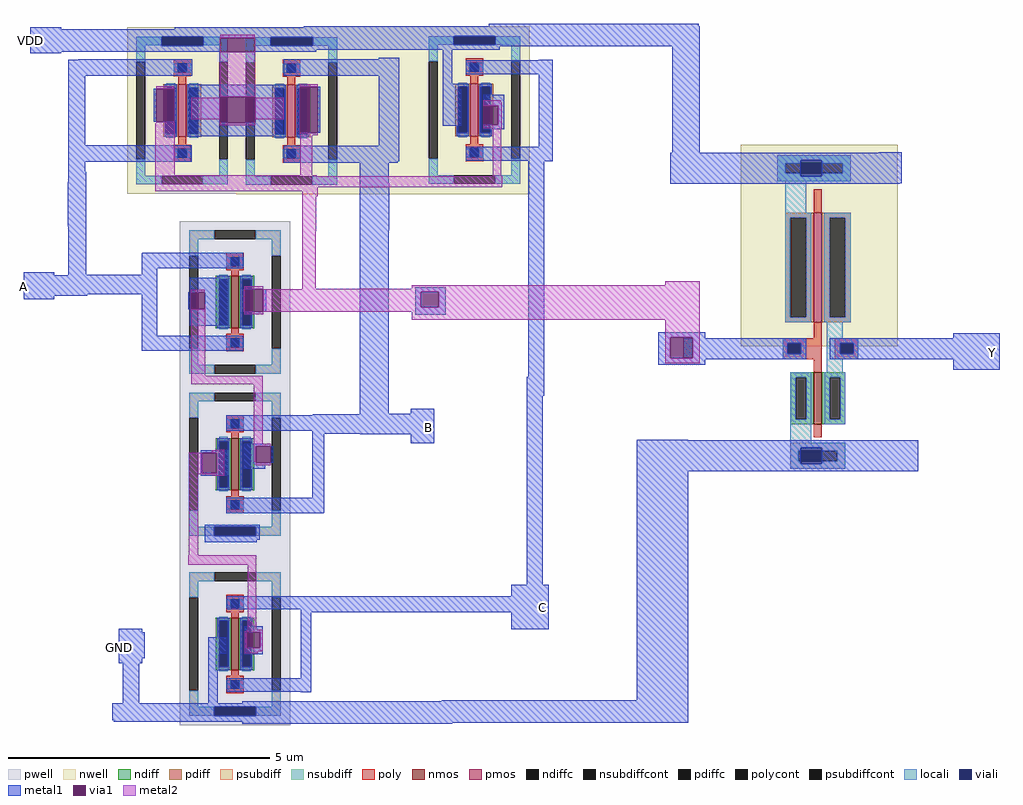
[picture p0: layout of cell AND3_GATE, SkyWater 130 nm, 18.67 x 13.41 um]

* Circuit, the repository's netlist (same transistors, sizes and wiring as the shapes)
* SPICE3 file created from AND3_GATE.ext - technology: sky130A

.subckt sky130_fd_pr__nfet_01v8_648S5X a_n73_n100# a_n33_n188# a_15_n100# a_n175_n274#
X0 a_15_n100# a_n33_n188# a_n73_n100# a_n175_n274# sky130_fd_pr__nfet_01v8 ad=0.29 pd=2.58 as=0.29 ps=2.58 w=1 l=0.15
.ends

.subckt sky130_fd_pr__pfet_01v8_XGS3BL a_n73_n100# a_15_n100# w_n211_n319# a_n33_n197#
+ VSUBS
X0 a_15_n100# a_n33_n197# a_n73_n100# w_n211_n319# sky130_fd_pr__pfet_01v8 ad=0.29 pd=2.58 as=0.29 ps=2.58 w=1 l=0.15
.ends

.subckt INV vdd vss out in
X0 out in vdd vdd sky130_fd_pr__pfet_01v8 ad=1.155 pd=5.3 as=1.155 ps=5.3 w=2.1 l=0.15
X1 out in vss vss sky130_fd_pr__nfet_01v8 ad=0.45 pd=2.9 as=0.45 ps=2.9 w=1 l=0.15
.ends

** .subckt AND3_GATE
Xsky130_fd_pr__nfet_01v8_648S5X_0 GND C m1_n1068_n3336# GND sky130_fd_pr__nfet_01v8_648S5X
Xsky130_fd_pr__nfet_01v8_648S5X_1 m1_n1068_n3336# B m1_n1116_n2700# GND sky130_fd_pr__nfet_01v8_648S5X
XXM1 m1_n1116_n2700# A INV_0/in GND sky130_fd_pr__nfet_01v8_648S5X
XXM3 INV_0/in VDD VDD A GND sky130_fd_pr__pfet_01v8_XGS3BL
Xsky130_fd_pr__pfet_01v8_XGS3BL_0 VDD INV_0/in VDD B GND sky130_fd_pr__pfet_01v8_XGS3BL
Xsky130_fd_pr__pfet_01v8_XGS3BL_1 VDD INV_0/in VDD C GND sky130_fd_pr__pfet_01v8_XGS3BL
XINV_0 VDD GND Y INV_0/in INV
* C0 VDD GND 6.654117f
** .ends

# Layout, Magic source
magic
tech sky130A
magscale 1 2
<< nwell >>
rect -674 -1706 190 -1616
rect -1104 -1972 -750 -1890
rect -1242 -2248 -982 -2174
rect -536 -2260 190 -1706
<< pwell >>
rect -1148 -3818 -726 -3528
rect -888 -3926 -856 -3818
rect -892 -3932 -830 -3926
rect -1028 -4018 -970 -3954
rect -900 -4008 -830 -3932
rect -900 -4016 -850 -4008
rect -1016 -4254 -858 -4220
<< psubdiffcont >>
rect -1016 -4254 -858 -4220
<< nsubdiffcont >>
rect -100 -1688 58 -1654
<< viali >>
rect -1218 -1692 -1058 -1656
rect -800 -1692 -640 -1658
rect -100 -1688 58 -1654
rect -1016 -3566 -858 -3532
rect -1016 -4254 -858 -4220
<< metal1 >>
rect 34 -1616 838 -1608
rect -674 -1620 842 -1616
rect -1720 -1628 -1602 -1620
rect -1168 -1628 842 -1620
rect -1720 -1654 842 -1628
rect -1720 -1656 -100 -1654
rect -1720 -1692 -1218 -1656
rect -1058 -1658 -100 -1656
rect -1058 -1660 -800 -1658
rect -1058 -1692 -994 -1660
rect -1720 -1714 -994 -1692
rect -862 -1692 -800 -1660
rect -640 -1688 -100 -1658
rect 58 -1688 842 -1654
rect -640 -1692 842 -1688
rect -862 -1694 842 -1692
rect -862 -1706 76 -1694
rect -862 -1714 -626 -1706
rect -1720 -1720 -1602 -1714
rect -386 -1742 -308 -1738
rect -1536 -1744 -1100 -1742
rect -1574 -1806 -1100 -1744
rect -750 -1806 -308 -1742
rect -1574 -2072 -1510 -1806
rect -1248 -1982 -1238 -1856
rect -1170 -1982 -1160 -1856
rect -1110 -1886 -754 -1840
rect -1110 -1986 -996 -1886
rect -860 -1986 -754 -1886
rect -1110 -2038 -754 -1986
rect -700 -2024 -690 -1848
rect -620 -2024 -610 -1848
rect -1574 -2136 -1102 -2072
rect -386 -2074 -308 -1806
rect -142 -1836 -106 -1706
rect 226 -1746 278 -1744
rect -54 -1800 278 -1746
rect -142 -1858 -78 -1836
rect -142 -1998 -72 -1858
rect 12 -1920 94 -1878
rect 70 -1994 94 -1920
rect 12 -2010 94 -1994
rect -750 -2134 -308 -2074
rect 226 -2078 278 -1800
rect -54 -2132 278 -2078
rect 186 -2134 278 -2132
rect -1574 -2174 -1510 -2136
rect -750 -2138 -314 -2134
rect -1574 -2212 -1506 -2174
rect -1576 -2382 -1506 -2212
rect -1746 -2570 -1628 -2558
rect -1574 -2568 -1506 -2382
rect -460 -2218 -348 -2138
rect -460 -2398 -346 -2218
rect -1292 -2486 -906 -2484
rect -1294 -2542 -906 -2486
rect -1294 -2568 -1234 -2542
rect -1574 -2570 -1234 -2568
rect -1746 -2642 -1234 -2570
rect -1110 -2634 -964 -2578
rect -1746 -2648 -1502 -2642
rect -1746 -2662 -1628 -2648
rect -1294 -2800 -1234 -2642
rect -1116 -2700 -1106 -2634
rect -1052 -2700 -964 -2634
rect -1110 -2762 -964 -2700
rect -912 -2708 -902 -2622
rect -828 -2708 -818 -2622
rect -1294 -2858 -906 -2800
rect -460 -3100 -348 -2398
rect -248 -2632 -130 -2616
rect -248 -2692 -226 -2632
rect -158 -2692 -130 -2632
rect -248 -2720 -130 -2692
rect 186 -2958 246 -2134
rect 736 -2218 842 -1694
rect 682 -2806 862 -2788
rect 682 -2886 728 -2806
rect 814 -2886 862 -2806
rect 682 -2912 862 -2886
rect 1812 -2930 1988 -2792
rect 180 -3030 246 -2958
rect -264 -3100 -174 -3080
rect -460 -3102 -174 -3100
rect -640 -3104 -174 -3102
rect -970 -3164 -174 -3104
rect -642 -3176 -174 -3164
rect -904 -3224 -822 -3214
rect -970 -3238 -964 -3236
rect -1068 -3248 -964 -3238
rect -1068 -3326 -1062 -3248
rect -1006 -3326 -964 -3248
rect -904 -3286 -858 -3224
rect -800 -3286 -790 -3224
rect -904 -3310 -822 -3286
rect -1068 -3334 -964 -3326
rect -1068 -3336 -968 -3334
rect -642 -3420 -596 -3176
rect -458 -3178 -174 -3176
rect -264 -3212 -174 -3178
rect -970 -3478 -596 -3420
rect -970 -3480 -598 -3478
rect -1052 -3532 -842 -3524
rect -1052 -3566 -1016 -3532
rect -858 -3566 -842 -3532
rect -1052 -3582 -842 -3566
rect -1052 -3590 -854 -3582
rect 180 -3754 240 -3030
rect 120 -3798 264 -3754
rect -968 -3848 264 -3798
rect -686 -3858 264 -3848
rect -1382 -3936 -1292 -3922
rect -902 -3936 -830 -3912
rect -1382 -4034 -1282 -3936
rect -1040 -4018 -970 -3954
rect -902 -3994 -892 -3936
rect -840 -3994 -830 -3936
rect -1382 -4054 -1292 -4034
rect -1366 -4206 -1304 -4054
rect -1040 -4206 -1002 -4018
rect -902 -4020 -830 -3994
rect -686 -4112 -646 -3858
rect 120 -3924 264 -3858
rect -968 -4162 -646 -4112
rect -686 -4164 -646 -4162
rect 600 -4196 798 -3198
rect -146 -4200 798 -4196
rect -910 -4206 798 -4200
rect -1406 -4220 798 -4206
rect -1406 -4254 -1016 -4220
rect -858 -4254 798 -4220
rect -1406 -4272 798 -4254
rect -1400 -4278 798 -4272
rect -910 -4282 798 -4278
rect -910 -4286 -106 -4282
<< via1 >>
rect -994 -1714 -862 -1660
rect -1238 -1982 -1170 -1856
rect -996 -1986 -860 -1886
rect -690 -2024 -620 -1848
rect 12 -1994 70 -1920
rect -1106 -2700 -1052 -2634
rect -902 -2708 -828 -2622
rect -226 -2692 -158 -2632
rect 728 -2886 814 -2806
rect -1062 -3326 -1006 -3248
rect -858 -3286 -800 -3224
rect -892 -3994 -840 -3936
<< metal2 >>
rect -994 -1658 -862 -1650
rect -996 -1660 -860 -1658
rect -996 -1714 -994 -1660
rect -862 -1714 -860 -1660
rect -1238 -1856 -1170 -1846
rect -996 -1886 -860 -1714
rect -1104 -1972 -996 -1890
rect -1238 -1988 -1170 -1982
rect -690 -1848 -620 -1838
rect -860 -1972 -750 -1890
rect -1242 -2186 -1168 -1988
rect -996 -1996 -860 -1986
rect 12 -1908 80 -1900
rect 12 -1920 84 -1908
rect 70 -1994 84 -1920
rect 12 -2006 84 -1994
rect -690 -2034 -620 -2024
rect -688 -2186 -642 -2034
rect -1242 -2190 -624 -2186
rect 50 -2190 82 -2006
rect -1242 -2232 86 -2190
rect -1242 -2248 -620 -2232
rect -680 -2268 -620 -2248
rect -680 -2400 -626 -2268
rect -902 -2622 -828 -2612
rect -680 -2620 -628 -2400
rect 710 -2608 842 -2592
rect -260 -2620 842 -2608
rect -680 -2622 842 -2620
rect -1106 -2634 -1052 -2624
rect -1052 -2700 -1050 -2680
rect -1106 -2710 -1050 -2700
rect -904 -2708 -902 -2622
rect -828 -2632 842 -2622
rect -828 -2692 -226 -2632
rect -158 -2692 842 -2632
rect -828 -2708 842 -2692
rect -1104 -2954 -1050 -2710
rect -902 -2718 -828 -2708
rect -260 -2740 842 -2708
rect 710 -2806 842 -2740
rect 710 -2886 728 -2806
rect 814 -2886 842 -2806
rect 710 -2906 842 -2886
rect -1104 -2986 -830 -2954
rect -866 -3214 -830 -2986
rect -866 -3224 -800 -3214
rect -1012 -3238 -978 -3236
rect -1026 -3248 -978 -3238
rect -1114 -3326 -1062 -3248
rect -1006 -3326 -978 -3248
rect -866 -3282 -858 -3224
rect -858 -3296 -800 -3286
rect -1114 -3330 -978 -3326
rect -1114 -3640 -1078 -3330
rect -1026 -3334 -978 -3330
rect -1012 -3336 -978 -3334
rect -1116 -3676 -856 -3640
rect -888 -3926 -856 -3676
rect -892 -3932 -830 -3926
rect -900 -3936 -830 -3932
rect -900 -3994 -892 -3936
rect -840 -3994 -830 -3936
rect -900 -4008 -830 -3994
rect -900 -4016 -850 -4008
use INV  INV_0
transform 1 0 1298 0 1 -2540
box -570 -780 560 470
use sky130_fd_pr__nfet_01v8_648S5X  sky130_fd_pr__nfet_01v8_648S5X_0
transform 1 0 -937 0 1 -3980
box -211 -310 211 310
use sky130_fd_pr__nfet_01v8_648S5X  sky130_fd_pr__nfet_01v8_648S5X_1
transform 1 0 -937 0 1 -3292
box -211 -310 211 310
use sky130_fd_pr__pfet_01v8_XGS3BL  sky130_fd_pr__pfet_01v8_XGS3BL_0
transform 1 0 -721 0 1 -1941
box -211 -319 211 319
use sky130_fd_pr__pfet_01v8_XGS3BL  sky130_fd_pr__pfet_01v8_XGS3BL_1
transform 1 0 -21 0 1 -1937
box -211 -319 211 319
use sky130_fd_pr__nfet_01v8_648S5X  XM1
transform 1 0 -937 0 1 -2672
box -211 -310 211 310
use sky130_fd_pr__pfet_01v8_XGS3BL  XM3
transform 1 0 -1139 0 1 -1939
box -211 -319 211 319
<< labels >>
rlabel metal1 -198 -3150 -198 -3150 1 B
rlabel metal1 -1746 -2612 -1746 -2612 3 A
rlabel metal1 -1718 -1672 -1718 -1672 1 VDD
rlabel metal1 -1380 -3994 -1380 -3994 1 GND
rlabel metal1 240 -3840 242 -3838 1 C
rlabel metal1 1960 -2868 1962 -2864 1 Y
<< end >>

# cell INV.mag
magic
tech sky130A
<< nwell >>
rect -150 -150 150 235
<< nmos >>
rect -10 -300 5 -200
<< pmos >>
rect -10 -105 5 105
<< ndiff >>
rect -55 -210 -10 -200
rect -55 -290 -45 -210
rect -25 -290 -10 -210
rect -55 -300 -10 -290
rect 5 -210 50 -200
rect 5 -290 20 -210
rect 40 -290 50 -210
rect 5 -300 50 -290
<< pdiff >>
rect -65 95 -10 105
rect -65 -95 -55 95
rect -25 -95 -10 95
rect -65 -105 -10 -95
rect 5 95 60 105
rect 5 -95 20 95
rect 50 -95 60 95
rect 5 -105 60 -95
<< ndiffc >>
rect -45 -290 -25 -210
rect 20 -290 40 -210
<< pdiffc >>
rect -55 -95 -25 95
rect 20 -95 50 95
<< psubdiff >>
rect -55 -350 50 -335
rect -55 -370 -40 -350
rect 35 -370 50 -350
rect -55 -385 50 -370
<< nsubdiff >>
rect -80 200 60 215
rect -80 180 -65 200
rect 45 180 60 200
rect -80 165 60 180
<< psubdiffcont >>
rect -40 -370 35 -350
<< nsubdiffcont >>
rect -65 180 45 200
<< poly >>
rect -10 105 5 150
rect -10 -135 5 -105
rect -70 -145 5 -135
rect -70 -165 -60 -145
rect -35 -165 5 -145
rect -70 -175 5 -165
rect 30 -145 75 -135
rect 30 -165 40 -145
rect 65 -165 75 -145
rect 30 -175 75 -165
rect -10 -200 5 -175
rect -10 -325 5 -300
<< polycont >>
rect -60 -165 -35 -145
rect 40 -165 65 -145
<< locali >>
rect -80 205 60 215
rect -80 200 -35 205
rect 5 200 60 205
rect -80 180 -65 200
rect 45 180 60 200
rect -80 175 -35 180
rect 5 175 60 180
rect -80 165 60 175
rect -65 105 -25 165
rect -65 95 -15 105
rect -65 -95 -55 95
rect -25 -95 -15 95
rect -65 -105 -15 -95
rect 10 95 60 105
rect 10 -95 20 95
rect 50 -95 60 95
rect 10 -105 60 -95
rect 15 -135 45 -105
rect -70 -145 -25 -135
rect -70 -165 -60 -145
rect -35 -165 -25 -145
rect -70 -175 -25 -165
rect 15 -145 75 -135
rect 15 -165 40 -145
rect 65 -165 75 -145
rect 15 -175 75 -165
rect 15 -200 45 -175
rect -55 -210 -15 -200
rect -55 -290 -45 -210
rect -25 -290 -15 -210
rect -55 -335 -15 -290
rect 10 -210 50 -200
rect 10 -290 20 -210
rect 40 -290 50 -210
rect 10 -300 50 -290
rect -55 -345 50 -335
rect -55 -350 -35 -345
rect 5 -350 50 -345
rect -55 -370 -40 -350
rect 35 -370 50 -350
rect -55 -375 -35 -370
rect 5 -375 50 -370
rect -55 -385 50 -375
<< viali >>
rect -35 200 5 205
rect -35 180 5 200
rect -35 175 5 180
rect -60 -165 -35 -145
rect 40 -165 65 -145
rect -35 -350 5 -345
rect -35 -370 5 -350
rect -35 -375 5 -370
<< metal1 >>
rect 114 220 158 221
rect -285 205 158 220
rect -285 175 -35 205
rect 5 175 158 205
rect -285 161 158 175
rect -285 160 154 161
rect -260 -145 -25 -135
rect -260 -165 -60 -145
rect -35 -165 -25 -145
rect -260 -175 -25 -165
rect 20 -145 280 -135
rect 20 -165 40 -145
rect 65 -165 280 -145
rect 20 -175 280 -165
rect -265 -345 190 -330
rect -265 -375 -35 -345
rect 5 -375 190 -345
rect -265 -390 190 -375
<< labels >>
rlabel metal1 155 196 155 196 1 vdd
rlabel metal1 250 -165 265 -145 1 out
rlabel metal1 175 -360 175 -360 1 vss
rlabel metal1 -240 -165 -225 -145 1 in
<< end >>

# cell sky130_fd_pr__nfet_01v8_648S5X: kit device sky130_fd_pr__nfet_01v8, w 1.0 l 0.15 m 1 nf 1 diffcov 100 polycov 100 guard 1 glc 1 grc 1 gtc 1 gbc 1 tbcov 100 rlcov 100 topc 1 botc 1 poverlap 0 doverlap 1 lmin 0.15 wmin 0.42 compatible {sky130_fd_pr__nfet_01v8 sky130_fd_pr__nfet_01v8_lvt sky130_fd_bs_flash__special_sonosfet_star sky130_fd_pr__nfet_g5v0d10v5 sky130_fd_pr__nfet_05v0_nvt sky130_fd_pr__nfet_03v3_nvt} full_metal 1 viasrc 100 viadrn 100 viagate 100 viagb 0 viagr 0 viagl 0 viagt 0

# cell sky130_fd_pr__pfet_01v8_XGS3BL: kit device sky130_fd_pr__pfet_01v8, w 1.0 l 0.15 m 1 nf 1 diffcov 100 polycov 100 guard 1 glc 1 grc 1 gtc 1 gbc 1 tbcov 100 rlcov 100 topc 1 botc 1 poverlap 0 doverlap 1 lmin 0.15 wmin 0.42 compatible {sky130_fd_pr__pfet_01v8 sky130_fd_pr__pfet_01v8_lvt sky130_fd_pr__pfet_01v8_hvt sky130_fd_pr__pfet_g5v0d10v5} full_metal 1 viasrc 100 viadrn 100 viagate 100 viagb 0 viagr 0 viagl 0 viagt 0
